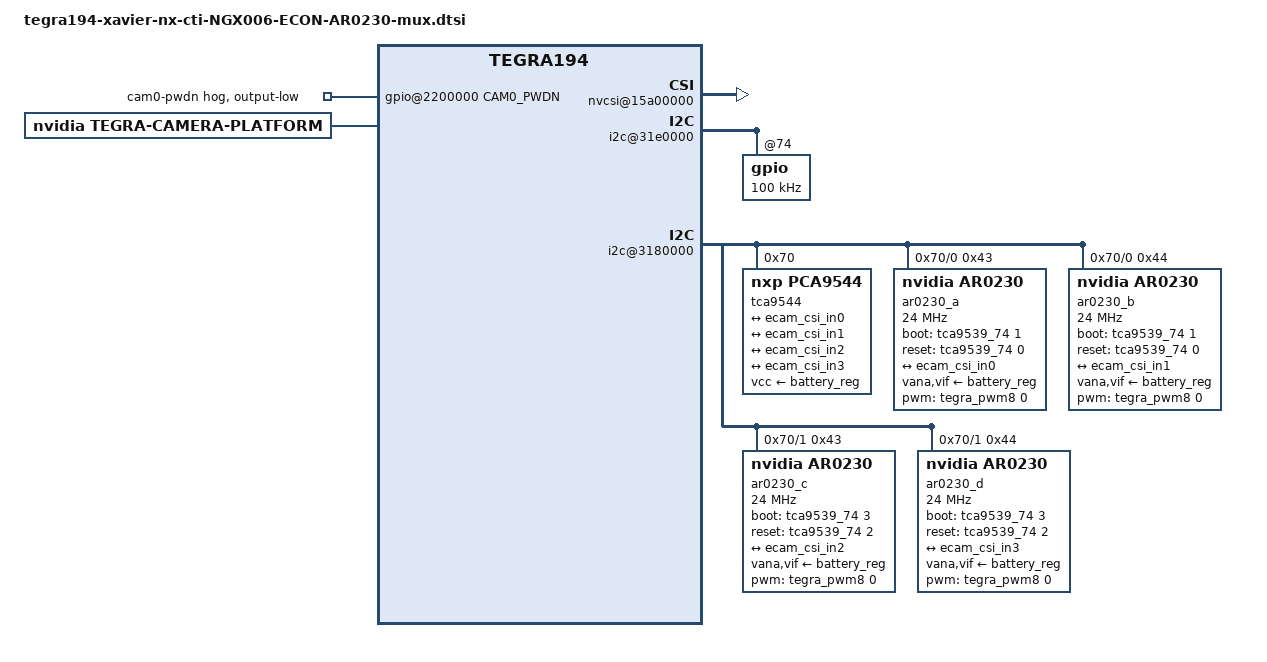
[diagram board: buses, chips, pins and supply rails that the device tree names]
/* Econ device tree for AR0230 support */
#include "dt-bindings/clock/tegra194-clock.h"
#define CAM0_PWDN	TEGRA194_MAIN_GPIO(P, 4)

#define CAM_LANES 4
#define CAM_LANES_STRING "2"

/* Enable Six overlays in Jetson Xavier NX */
&head0 {
	win-mask = <0x3f>;
};

/ {

	/* set camera gpio direction to output */
	gpio@2200000 {
		camera-control-output-low {
		 	gpio-hog;
		 	output-low;
		 	gpios = <CAM0_PWDN 0>;
			label = "cam0-pwdn";
		};
	};

	/* all cameras are disabled by default */
	host1x {
		vi@15c10000 {
			num-channels = <4>;
			status = "okay";
			ports {
				#address-cells = <1>;
				#size-cells = <0>;
				port@0 {
					reg = <0>;
					status = "okay";
					ecam_vi_in0: endpoint {
						 status = "okay";
						 vc-id = <1>;
						 port-index = <2>;
						 bus-width = <CAM_LANES>;
						 remote-endpoint = <&ecam_csi_out0>;
					 };
				};
				port@1 {
					reg = <1>;
					status = "okay";	
					ecam_vi_in1: endpoint {
						 status = "okay";	
						 vc-id = <0>;
						 port-index = <2>;
						 bus-width = <CAM_LANES>;
						 remote-endpoint = <&ecam_csi_out1>;
					 };
				};
				port@2 {
					reg = <2>;
					status = "okay";
					ecam_vi_in2: endpoint {
						 status = "okay";	
						 vc-id = <1>;
						 port-index = <0>;
						 bus-width = <CAM_LANES>;
						 remote-endpoint = <&ecam_csi_out2>;
					 };
				};
				port@3 {
					reg = <3>;
					status = "okay";	
					ecam_vi_in3: endpoint {
						 status = "okay";	
						 vc-id = <0>;
						 port-index = <0>;
						 bus-width = <CAM_LANES>;
						 remote-endpoint = <&ecam_csi_out3>;
					 };
				};
			};
		};

		nvcsi@15a00000 {
			num-channels = <4>;
			#address-cells = <1>;
			#size-cells = <0>;
			status = "okay";	
			channel@0 {
				reg = <0>;
				status = "okay";	
				ports {
					#address-cells = <1>;
					#size-cells = <0>;
					port@0 {
						reg = <0>;
						status = "okay";	
						ecam_csi_in0: endpoint@0 {
							  status = "okay";	
							  port-index = <2>;
							  bus-width = <CAM_LANES>;
							  remote-endpoint = <&ecam_ar0230_out0>;
						  };
					};
					port@1 {
						reg = <1>;
						status = "okay";	
						ecam_csi_out0: endpoint@1 {
						   status = "okay";	
						   remote-endpoint = <&ecam_vi_in0>;
					   };
					};
				};
			};
			channel@1 {
				reg = <1>;
				status = "okay";	
				ports {
					#address-cells = <1>;
					#size-cells = <0>;
					port@0 {
						reg = <0>;
						status = "okay";	
						ecam_csi_in1: endpoint@2 {
							  status = "okay";	
							  port-index = <2>;
							  bus-width = <CAM_LANES>;
							  remote-endpoint = <&ecam_ar0230_out1>;
						};
					};
					port@1 {
						reg = <1>;
						status = "okay";	
						ecam_csi_out1: endpoint@3 {
							   status = "okay";	
							   remote-endpoint = <&ecam_vi_in1>;
					   };
					};
				};
			};
			channel@2 {
				reg = <2>;
				status = "okay";	
				ports {
					#address-cells = <1>;
					#size-cells = <0>;
					port@0 {
						reg = <0>;
						status = "okay";	
						ecam_csi_in2: endpoint@4 {
							  status = "okay";	
							  port-index = <0>;
							  bus-width = <CAM_LANES>;
							  remote-endpoint = <&ecam_ar0230_out2>;
						  };
					};
					port@1 {
						reg = <1>;
						status = "okay";	
						ecam_csi_out2: endpoint@5 {
						   status = "okay";	
						   remote-endpoint = <&ecam_vi_in2>;
					   };
					};
				};
			};
			channel@3 {
				reg = <3>;
				status = "okay";	
				ports {
					#address-cells = <1>;
					#size-cells = <0>;
					port@0 {
						reg = <0>;
						status = "okay";	
						ecam_csi_in3: endpoint@6 {
							  status = "okay";	
							  port-index = <0>;
							  bus-width = <CAM_LANES>;
							  remote-endpoint = <&ecam_ar0230_out3>;
						};
					};
					port@1 {
						reg = <1>;
						status = "okay";	
						ecam_csi_out3: endpoint@7 {
							   status = "okay";	
							   remote-endpoint = <&ecam_vi_in3>;
					   };
					};
				};
			};
		};
	};
	
	
	
	i2c@31e0000 {
	  	status = "okay";
		#address-cells = <1>;
		#size-cells = <0>;
		gpio@74{    //Camera GPIO
			clock-frequency = <100000>;
			tca9539_74: tca9539@74 {
			compatible = "ti,tca9539";
			gpio-controller;
			#gpio-cells = <2>;
			reg = <0x74>;
			vcc-supply = <&battery_reg>;
		 	status = "okay";
			tca9539_74_outlow {
		 		/*
				 * GPIO-0  : RST_CAMA
		 		 * GPIO-1  : BOOT_CAMA
		 		 * GPIO-2  : RST_CAMB
		 		 * GPIO-3  : BOOT_CAMB
		 		 * GPIO-4  : RST_CAMC
		 		 * GPIO-5  : BOOT_CAMC
		 		 * GPIO-6  : RST_CAMD
		 		 * GPIO-7  : BOOT_CAMD
				 */
		 		gpio-hog;
		 		gpios = <0 0 1 0 2 0 3 0 4 0 5 0 6 0 7 0>;
		 		output-low;
		 		label = "tca9539_74_outlow_0",
		 				"tca9539_74_outlow_1",
		 				"tca9539_74_outlow_2",
		 				"tca9539_74_outlow_3",
		 				"tca9539_74_outlow_4",
		 				"tca9539_74_outlow_5",
		 				"tca9539_74_outlow_6",
		 				"tca9539_74_outlow_7";
		 	};
			tca9539_74_outhigh {
		 		status= "disabled";
			};
			tca9539_74_input {
		 		status = "disabled";
		 	};
		 };
	    };
	};

	i2c@3180000 {
		status = "okay";
		#address-cells = <1>;
		#size-cells = <0>;
		tca9544@70 {
            		compatible = "nxp,pca9544";
            		reg = <0x70>;
            		#address-cells = <1>;
            		#size-cells = <0>;
			vcc-supply = <&battery_reg>;
			skip_mux_detect;
            		force_bus_start = <0x1e>;
			i2c@0 {
	            		reg = <0>;
    	   	    		i2c-mux,deselect-on-exit;
        	   	 	#address-cells = <1>;
             			#size-cells = <0>;
	            		status = "okay";
				ar0230_a@43 {
					status = "okay";
					compatible = "nvidia,ar0230";
					reg = <0x43>;
					sensor_model ="ar0230";
					avdd-reg = "vana";
					iovdd-reg = "vif";
					clocks = <&bpmp_clks  TEGRA194_CLK_EXTPERIPH1>,
							 <&bpmp_clks TEGRA194_CLK_PLLP_OUT0>;
					clock-names = "extperiph1", "pllp_grtba";
					mclk = "extperiph1";
					clock-frequency = <24000000>;
					boot-gpios = <&tca9539_74 1 GPIO_ACTIVE_HIGH>;
					reset-gpios = <&tca9539_74 0 GPIO_ACTIVE_HIGH>; 
					vana-supply = <&battery_reg>;
					vif-supply = <&battery_reg>;
					use_sensor_mode_id = "false";
					camera_mipi_lanes = <2>;
					sio-port = "A";
					deserializer-address = <0x48>;
					serializer-address_1 = <0x40>;
					serializer-address_2 = <0x41>;	
					/*PWM CHIP 0 with default period for 30Hz*/
					#pwm-cells = <1>;
					pwms = <&tegra_pwm8 0 33333333>;
#define TEGRA_SINTERFACE "serial_a"
#include "tegra194-xavier-nx-cti-nilecam20_cunx_mode.dtsi"
					ports {
						#address-cells = <1>;
						#size-cells = <0>;
						port@0 {
							reg = <0>;
							ecam_ar0230_out0: endpoint {
						 		vc-id = <1>;
								port-index = <2>;
								bus-width = <CAM_LANES>;
								remote-endpoint = <&ecam_csi_in0>;
							};
						};
					};
				};
               			ar0230_b@44 {
                        		status = "okay";
                        		compatible = "nvidia,ar0230";
                        		reg = <0x44>;
					reg_mux = <0>;
                        		sensor_model ="ar0230";
                        		avdd-reg = "vana";
                        		iovdd-reg = "vif";
					clocks = <&bpmp_clks  TEGRA194_CLK_EXTPERIPH1>,
				 		<&bpmp_clks TEGRA194_CLK_PLLP_OUT0>;
                        		clock-names = "extperiph1", "pllp_grtba";
                        		mclk = "extperiph1";
                        		clock-frequency = <24000000>;
					boot-gpios = <&tca9539_74 1 GPIO_ACTIVE_HIGH>;
					reset-gpios = <&tca9539_74 0 GPIO_ACTIVE_HIGH>; 
					vana-supply= <&battery_reg>;
					vif-supply = <&battery_reg>;
					use_sensor_mode_id = "false";
					camera_mipi_lanes = <2>;
					sio-port = "B";
					deserializer-address = <0x48>;
					serializer-address_1 = <0x40>;
					serializer-address_2 = <0x41>;	
					/*PWM CHIP 0 with default period for 30Hz*/
					#pwm-cells = <1>;
					pwms = <&tegra_pwm8 0 33333333>;
#undef TEGRA_SINTERFACE	
#define TEGRA_SINTERFACE "serial_b"
#include "tegra194-xavier-nx-cti-nilecam20_cunx_mode.dtsi"	

					ports {
   	    	               			#address-cells = <1>;
    	                   			#size-cells = <0>;
            	           			port@0 {
                               				reg = <0>;
                               				ecam_ar0230_out1: endpoint {
						 		vc-id = <0>;
                                       				port-index = <2>;
                                       				bus-width = <CAM_LANES>;
                                       				remote-endpoint = <&ecam_csi_in1>;
                               				};
                    	   			};
              		 		};
       				};
			};

            		i2c@1{
                		status = "okay";
                		reg = <1>;
                		i2c-mux,deselect-on-exit;
                		#address-cells = <1>;
                		#size-cells = <0>;
				ar0230_c@43 {
					status = "okay";
					compatible = "nvidia,ar0230";
					reg = <0x43>;
					sensor_model ="ar0230";
					avdd-reg = "vana";
					iovdd-reg = "vif";
					clocks = <&bpmp_clks  TEGRA194_CLK_EXTPERIPH1>,
							 <&bpmp_clks TEGRA194_CLK_PLLP_OUT0>;
					clock-names = "extperiph1", "pllp_grtba";
					mclk = "extperiph1";
					clock-frequency = <24000000>;
					boot-gpios = <&tca9539_74 3 GPIO_ACTIVE_HIGH>;
					reset-gpios = <&tca9539_74 2 GPIO_ACTIVE_HIGH>; 
					vana-supply = <&battery_reg>;
					vif-supply = <&battery_reg>;
					use_sensor_mode_id = "false";
					camera_mipi_lanes = <2>;
					sio-port = "A";
					deserializer-address = <0x48>;
					serializer-address_1 = <0x40>;
					serializer-address_2 = <0x41>;	
					/*PWM CHIP 0 with default period for 30Hz*/
					#pwm-cells = <1>;
					pwms = <&tegra_pwm8 0 33333333>;
#undef TEGRA_SINTERFACE	
#define TEGRA_SINTERFACE "serial_c"
#include "tegra194-xavier-nx-cti-nilecam20_cunx_mode.dtsi"	
					ports {
						#address-cells = <1>;
						#size-cells = <0>;
						port@0 {
							reg = <0>;
							ecam_ar0230_out2: endpoint {
						 		vc-id = <1>;
								port-index = <0>;
								bus-width = <CAM_LANES>;
								remote-endpoint = <&ecam_csi_in2>;
							};
						};
					};
				};

               			ar0230_d@44 {
			        	status = "okay";
                        		compatible = "nvidia,ar0230";
                        		reg = <0x44>;
					reg_mux = <1>;
                        		sensor_model ="ar0230";
                        		avdd-reg = "vana";
                        		iovdd-reg = "vif";
					clocks = <&bpmp_clks  TEGRA194_CLK_EXTPERIPH1>,
				 		<&bpmp_clks TEGRA194_CLK_PLLP_OUT0>;
                        		clock-names = "extperiph1", "pllp_grtba";
                        		mclk = "extperiph1";
                        		clock-frequency = <24000000>;
					boot-gpios = <&tca9539_74 3 GPIO_ACTIVE_HIGH>;
					reset-gpios = <&tca9539_74 2 GPIO_ACTIVE_HIGH>; 
					vana-supply = <&battery_reg>;
					vif-supply = <&battery_reg>;
					use_sensor_mode_id = "false";
					camera_mipi_lanes = <2>;
					sio-port = "B";
					deserializer-address = <0x48>;
					serializer-address_1 = <0x40>;
					serializer-address_2 = <0x41>;	
					/*PWM CHIP 0 with default period for 30Hz*/
					#pwm-cells = <1>;
					pwms = <&tegra_pwm8 0 33333333>;

#undef TEGRA_SINTERFACE	
#define TEGRA_SINTERFACE "serial_d"
#include "tegra194-xavier-nx-cti-nilecam20_cunx_mode.dtsi"
					ports {
   	    	               			#address-cells = <1>;
    	                   			#size-cells = <0>;
            	           			port@0 {
                               				reg = <0>;
                               				ecam_ar0230_out3: endpoint {
						 		vc-id = <0>;
                                       				port-index = <0>;
                                       				bus-width = <CAM_LANES>;
                                       				remote-endpoint = <&ecam_csi_in3>;
                               				};
                    	   			};
              		 		};
       				};
          		};
		};	
	};

	tegra-camera-platform {
		compatible = "nvidia, tegra-camera-platform";
		/**
		* Physical settings to calculate max ISO BW
		*
		* num_csi_lanes = <>;
		* Total number of CSI lanes when all cameras are active
		*
		* max_lane_speed = <>;
		* Max lane speed in Kbit/s
		*
		* min_bits_per_pixel = <>;
		* Min bits per pixel
		*
		* vi_peak_byte_per_pixel = <>;
		* Max byte per pixel for the VI ISO case
		*
		* vi_bw_margin_pct = <>;
		* Vi bandwidth margin in percentage
		*
		*/
		num_csi_lanes = <8>;
		max_lane_speed = <2500000>;
		min_bits_per_pixel = <16>;
		vi_peak_byte_per_pixel = <2>;
		vi_bw_margin_pct = <67>;

		modules {
			module0 {
				badge = "NileCAM20_CUNX-1";
				position = "centerleft";
				orientation = "0";
				drivernode0 {
					pcl_id = "v4l2_sensor";
					devname = "NileCAM20_CUNX-1 ";
					proc-device-tree = "/proc/device-tree/i2c@3180000/tca9544@70/i2c@0/ar0230_a@43";
					status = "okay";
				};
			};
			module1 {
				badge = "NileCAM20_CUNX-2";
				position = "bottomleft";
				orientation = "1";
				drivernode0 {
					pcl_id = "v4l2_sensor";
					devname = "NileCAM20_CUNX-2 ";
					proc-device-tree = "/proc/device-tree/i2c@3180000/tca9544@70/i2c@0/ar0230_b@44";
					status = "okay";
				};
			};
			module2 {
				badge = "NileCAM20_CUNX-3";
				position = "topright";
				orientation = "2";
				drivernode0 {
					pcl_id = "v4l2_sensor";
					devname = "NileCAM20_CUNX-3 ";
					proc-device-tree = "/proc/device-tree/i2c@3180000/tca9544@70/i2c@1/ar0230_c@43";
					status = "okay";
				};
			};
			module3 {
				badge = "NileCAM20_CUNX-4";
				position = "bottomright";
				orientation = "3";
				drivernode0 {
					pcl_id = "v4l2_sensor";
					devname = "NileCAM20_CUNX-4 ";
					proc-device-tree = "/proc/device-tree/i2c@3180000/tca9544@70/i2c@1/ar0230_d@44";
					status = "okay";
				};
			};
		};
	};
};

